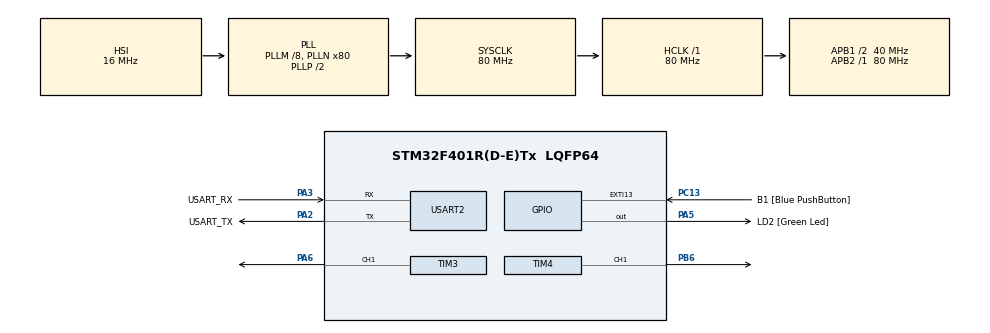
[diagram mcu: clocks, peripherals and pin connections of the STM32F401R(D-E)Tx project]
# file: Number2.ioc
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Mcu.Family=STM32F4
Mcu.Name=STM32F401R(D-E)Tx
Mcu.Package=LQFP64
NVIC.EXTI15_10_IRQn=true\:2\:0\:true\:false\:true\:true\:true
NVIC.PriorityGroup=NVIC_PRIORITYGROUP_2
NVIC.TIM3_IRQn=true\:0\:0\:false\:false\:true\:true\:true
NVIC.TIM4_IRQn=true\:0\:0\:false\:false\:true\:true\:true
PA13.GPIO_Label=TMS
PA13.Mode=Serial_Wire
PA13.Signal=SYS_JTMS-SWDIO
PA14.GPIO_Label=TCK
PA14.Mode=Serial_Wire
PA14.Signal=SYS_JTCK-SWCLK
PA2.GPIO_Label=USART_TX
PA2.GPIO_Mode=GPIO_MODE_AF_PP
PA2.GPIO_PuPd=GPIO_NOPULL
PA2.GPIO_Speed=GPIO_SPEED_FREQ_LOW
PA2.Mode=Asynchronous
PA2.Signal=USART2_TX
PA3.GPIO_Label=USART_RX
PA3.GPIO_Mode=GPIO_MODE_AF_PP
PA3.GPIO_PuPd=GPIO_NOPULL
PA3.GPIO_Speed=GPIO_SPEED_FREQ_LOW
PA3.Mode=Asynchronous
PA3.Signal=USART2_RX
PA5.GPIO_Label=LD2 [Green Led]
PA5.GPIO_Mode=GPIO_MODE_OUTPUT_PP
PA5.GPIO_PuPd=GPIO_NOPULL
PA5.GPIO_Speed=GPIO_SPEED_FREQ_LOW
PA5.Signal=GPIO_Output
PA6.Signal=S_TIM3_CH1
PB3.GPIO_Label=SWO
PB3.Signal=SYS_JTDO-SWO
PB6.Signal=S_TIM4_CH1
PC13-ANTI_TAMP.GPIO_Label=B1 [Blue PushButton]
PC13-ANTI_TAMP.GPIO_ModeDefaultEXTI=GPIO_MODE_IT_FALLING
PC13-ANTI_TAMP.GPIO_PuPd=GPIO_NOPULL
PC13-ANTI_TAMP.Signal=GPXTI13
PC14-OSC32_IN.Mode=LSE-External-Oscillator
PC14-OSC32_IN.Signal=RCC_OSC32_IN
PC15-OSC32_OUT.Mode=LSE-External-Oscillator
PC15-OSC32_OUT.Signal=RCC_OSC32_OUT
PH0\ -\ OSC_IN.Mode=HSE-External-Clock-Source
PH0\ -\ OSC_IN.Signal=RCC_OSC_IN
PH1\ -\ OSC_OUT.Mode=HSE-External-Clock-Source
PH1\ -\ OSC_OUT.Signal=RCC_OSC_OUT
ProjectManager.HeapSize=0x200
ProjectManager.StackSize=0x400
ProjectManager.TargetToolchain=STM32CubeIDE
RCC.48MHZClocksFreq_Value=22857142.85714286
RCC.AHBFreq_Value=80000000
RCC.APB1CLKDivider=RCC_HCLK_DIV2
RCC.APB1Freq_Value=40000000
RCC.APB1TimFreq_Value=80000000
RCC.APB2Freq_Value=80000000
RCC.APB2TimFreq_Value=80000000
RCC.CortexFreq_Value=80000000
RCC.HCLKFreq_Value=80000000
RCC.HSE_VALUE=8000000
RCC.HSI_VALUE=16000000
RCC.PLLM=8
RCC.PLLN=80
RCC.PLLQ=7
RCC.SYSCLKFreq_VALUE=80000000
RCC.SYSCLKSource=RCC_SYSCLKSOURCE_PLLCLK
RCC.VCOOutputFreq_Value=160000000
SH.S_TIM3_CH1.0=TIM3_CH1,PWM Generation1 CH1
SH.S_TIM4_CH1.0=TIM4_CH1,PWM Generation1 CH1
TIM3.Channel-PWM\ Generation1\ CH1=TIM_CHANNEL_1
TIM3.Period=10000-1
TIM3.Prescaler=8000-1
TIM4.Channel-PWM\ Generation1\ CH1=TIM_CHANNEL_1
TIM4.Period=100-1
TIM4.Prescaler=8000-1
USART2.VirtualMode=VM_ASYNC
VP_TIM3_VS_ClockSourceINT.Mode=Internal
VP_TIM4_VS_ClockSourceINT.Mode=Internal
board=NUCLEO-F401RE

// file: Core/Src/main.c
/* USER CODE BEGIN Header */
/**
 ******************************************************************************
 * @file           : main.c
 * @brief          : Main program body
 ******************************************************************************
 * @attention
 *
 * Copyright (c) 2022 STMicroelectronics.
 * All rights reserved.
 *
 * This software is licensed under terms that can be found in the LICENSE file
 * in the root directory of this software component.
 * If no LICENSE file comes with this software, it is provided AS-IS.
 *
 ******************************************************************************
 */
/* USER CODE END Header */
#include "main.h"

TIM_HandleTypeDef htim3;
TIM_HandleTypeDef htim4;

UART_HandleTypeDef huart2;

void SystemClock_Config(void);
static void MX_GPIO_Init(void);
static void MX_USART2_UART_Init(void);
static void MX_TIM3_Init(void);
static void MX_TIM4_Init(void);

/* USER CODE BEGIN 0 */

int counter = 0;
int state = 0;
int idle = 0;
int interval = 1;

void HAL_GPIO_EXTI_Callback(uint16_t GPIO_Pin) {
	counter++;
	if (counter > 10)
		counter = 0;
	idle = 0;
	while (!HAL_GPIO_ReadPin(B1_GPIO_Port, B1_Pin))
		;
	HAL_Delay(10);
	__HAL_GPIO_EXTI_CLEAR_IT(GPIO_Pin);
}

/* USER CODE END 0 */

int main(void) {

	/* MCU Configuration--------------------------------------------------------*/

	/* Reset of all peripherals, Initializes the Flash interface and the Systick. */
	HAL_Init();

	/* Configure the system clock */
	SystemClock_Config();

	/* Initialize all configured peripherals */
	MX_GPIO_Init();
	MX_USART2_UART_Init();
	MX_TIM3_Init();
	MX_TIM4_Init();
	/* USER CODE BEGIN 2 */
	//HAL_TIM_Base_Start_IT(&htim4);
	HAL_TIM_Base_Start_IT(&htim3);

	/* USER CODE END 2 */

	/* Infinite loop */
	while (1) {

		/* USER CODE BEGIN 3 */
		if (counter == 0 && HAL_GPIO_ReadPin(LD2_GPIO_Port, LD2_Pin) == 0) {
			HAL_GPIO_WritePin(LD2_GPIO_Port, LD2_Pin, 1);

		}

//		if(counter==0&& state!=0){
//			state = 0;
//		}else if(counter==1 && state !=1){
//			state = 1;
//			TIM4->ARR = 5000-1;
//			TIM4->CNT = 0;
//		}else if(counter==2 && state !=2){
//			state = 2;
//			TIM4->ARR = 2500-1;
//			TIM4->CNT = 0;
//		}else if(counter==10 && state !=3){
//			state = 3;
//			TIM4->ARR = 1000-1;
//			TIM4->CNT = 0;
//		}

		if (counter != 0) {
			interval = 1000 / counter; //millisec
			HAL_Delay(interval);
			HAL_GPIO_TogglePin(LD2_GPIO_Port, LD2_Pin);
			//idle += interval;
		}

//		if(idle >= 20000){
//			idle = 0;
//			counter = 0;
//			HAL_GPIO_WritePin(LD2_GPIO_Port, LD2_Pin, 1);
//		}

	}
	/* USER CODE END 3 */
}

void SystemClock_Config(void) {
	RCC_OscInitTypeDef RCC_OscInitStruct = { 0 };
	RCC_ClkInitTypeDef RCC_ClkInitStruct = { 0 };

	/** Configure the main internal regulator output voltage
	 */
	__HAL_RCC_PWR_CLK_ENABLE();
	__HAL_PWR_VOLTAGESCALING_CONFIG(PWR_REGULATOR_VOLTAGE_SCALE2);
	/** Initializes the RCC Oscillators according to the specified parameters
	 * in the RCC_OscInitTypeDef structure.
	 */
	RCC_OscInitStruct.OscillatorType = RCC_OSCILLATORTYPE_HSI;
	RCC_OscInitStruct.HSIState = RCC_HSI_ON;
	RCC_OscInitStruct.HSICalibrationValue = RCC_HSICALIBRATION_DEFAULT;
	RCC_OscInitStruct.PLL.PLLState = RCC_PLL_ON;
	RCC_OscInitStruct.PLL.PLLSource = RCC_PLLSOURCE_HSI;
	RCC_OscInitStruct.PLL.PLLM = 8;
	RCC_OscInitStruct.PLL.PLLN = 80;
	RCC_OscInitStruct.PLL.PLLP = RCC_PLLP_DIV2;
	RCC_OscInitStruct.PLL.PLLQ = 7;
	if (HAL_RCC_OscConfig(&RCC_OscInitStruct) != HAL_OK) {
		Error_Handler();
	}
	/** Initializes the CPU, AHB and APB buses clocks
	 */
	RCC_ClkInitStruct.ClockType = RCC_CLOCKTYPE_HCLK | RCC_CLOCKTYPE_SYSCLK
			| RCC_CLOCKTYPE_PCLK1 | RCC_CLOCKTYPE_PCLK2;
	RCC_ClkInitStruct.SYSCLKSource = RCC_SYSCLKSOURCE_PLLCLK;
	RCC_ClkInitStruct.AHBCLKDivider = RCC_SYSCLK_DIV1;
	RCC_ClkInitStruct.APB1CLKDivider = RCC_HCLK_DIV2;
	RCC_ClkInitStruct.APB2CLKDivider = RCC_HCLK_DIV1;

	if (HAL_RCC_ClockConfig(&RCC_ClkInitStruct, FLASH_LATENCY_2) != HAL_OK) {
		Error_Handler();
	}
}

static void MX_TIM3_Init(void) {

	TIM_ClockConfigTypeDef sClockSourceConfig = { 0 };
	TIM_MasterConfigTypeDef sMasterConfig = { 0 };
	TIM_OC_InitTypeDef sConfigOC = { 0 };

	htim3.Instance = TIM3;
	htim3.Init.Prescaler = 8000 - 1;
	htim3.Init.CounterMode = TIM_COUNTERMODE_UP;
	htim3.Init.Period = 10000 - 1;
	htim3.Init.ClockDivision = TIM_CLOCKDIVISION_DIV1;
	htim3.Init.AutoReloadPreload = TIM_AUTORELOAD_PRELOAD_DISABLE;
	if (HAL_TIM_Base_Init(&htim3) != HAL_OK) {
		Error_Handler();
	}
	sClockSourceConfig.ClockSource = TIM_CLOCKSOURCE_INTERNAL;
	if (HAL_TIM_ConfigClockSource(&htim3, &sClockSourceConfig) != HAL_OK) {
		Error_Handler();
	}
	if (HAL_TIM_PWM_Init(&htim3) != HAL_OK) {
		Error_Handler();
	}
	sMasterConfig.MasterOutputTrigger = TIM_TRGO_RESET;
	sMasterConfig.MasterSlaveMode = TIM_MASTERSLAVEMODE_DISABLE;
	if (HAL_TIMEx_MasterConfigSynchronization(&htim3, &sMasterConfig)
			!= HAL_OK) {
		Error_Handler();
	}
	sConfigOC.OCMode = TIM_OCMODE_PWM1;
	sConfigOC.Pulse = 0;
	sConfigOC.OCPolarity = TIM_OCPOLARITY_HIGH;
	sConfigOC.OCFastMode = TIM_OCFAST_DISABLE;
	if (HAL_TIM_PWM_ConfigChannel(&htim3, &sConfigOC, TIM_CHANNEL_1)
			!= HAL_OK) {
		Error_Handler();
	}
	HAL_TIM_MspPostInit(&htim3);

}

static void MX_TIM4_Init(void) {

	TIM_ClockConfigTypeDef sClockSourceConfig = { 0 };
	TIM_MasterConfigTypeDef sMasterConfig = { 0 };
	TIM_OC_InitTypeDef sConfigOC = { 0 };

	htim4.Instance = TIM4;
	htim4.Init.Prescaler = 8000 - 1;
	htim4.Init.CounterMode = TIM_COUNTERMODE_UP;
	htim4.Init.Period = 100 - 1;
	htim4.Init.ClockDivision = TIM_CLOCKDIVISION_DIV1;
	htim4.Init.AutoReloadPreload = TIM_AUTORELOAD_PRELOAD_DISABLE;
	if (HAL_TIM_Base_Init(&htim4) != HAL_OK) {
		Error_Handler();
	}
	sClockSourceConfig.ClockSource = TIM_CLOCKSOURCE_INTERNAL;
	if (HAL_TIM_ConfigClockSource(&htim4, &sClockSourceConfig) != HAL_OK) {
		Error_Handler();
	}
	if (HAL_TIM_PWM_Init(&htim4) != HAL_OK) {
		Error_Handler();
	}
	sMasterConfig.MasterOutputTrigger = TIM_TRGO_RESET;
	sMasterConfig.MasterSlaveMode = TIM_MASTERSLAVEMODE_DISABLE;
	if (HAL_TIMEx_MasterConfigSynchronization(&htim4, &sMasterConfig)
			!= HAL_OK) {
		Error_Handler();
	}
	sConfigOC.OCMode = TIM_OCMODE_PWM1;
	sConfigOC.Pulse = 0;
	sConfigOC.OCPolarity = TIM_OCPOLARITY_HIGH;
	sConfigOC.OCFastMode = TIM_OCFAST_DISABLE;
	if (HAL_TIM_PWM_ConfigChannel(&htim4, &sConfigOC, TIM_CHANNEL_1)
			!= HAL_OK) {
		Error_Handler();
	}
	HAL_TIM_MspPostInit(&htim4);

}

static void MX_USART2_UART_Init(void) {

	huart2.Instance = USART2;
	huart2.Init.BaudRate = 115200;
	huart2.Init.WordLength = UART_WORDLENGTH_8B;
	huart2.Init.StopBits = UART_STOPBITS_1;
	huart2.Init.Parity = UART_PARITY_NONE;
	huart2.Init.Mode = UART_MODE_TX_RX;
	huart2.Init.HwFlowCtl = UART_HWCONTROL_NONE;
	huart2.Init.OverSampling = UART_OVERSAMPLING_16;
	if (HAL_UART_Init(&huart2) != HAL_OK) {
		Error_Handler();
	}

}

static void MX_GPIO_Init(void) {
	GPIO_InitTypeDef GPIO_InitStruct = { 0 };

	/* GPIO Ports Clock Enable */
	__HAL_RCC_GPIOC_CLK_ENABLE();
	__HAL_RCC_GPIOH_CLK_ENABLE();
	__HAL_RCC_GPIOA_CLK_ENABLE();
	__HAL_RCC_GPIOB_CLK_ENABLE();

	/*Configure GPIO pin Output Level */
	HAL_GPIO_WritePin(LD2_GPIO_Port, LD2_Pin, GPIO_PIN_RESET);

	/*Configure GPIO pin : B1_Pin */
	GPIO_InitStruct.Pin = B1_Pin;
	GPIO_InitStruct.Mode = GPIO_MODE_IT_FALLING;
	GPIO_InitStruct.Pull = GPIO_NOPULL;
	HAL_GPIO_Init(B1_GPIO_Port, &GPIO_InitStruct);

	/*Configure GPIO pin : LD2_Pin */
	GPIO_InitStruct.Pin = LD2_Pin;
	GPIO_InitStruct.Mode = GPIO_MODE_OUTPUT_PP;
	GPIO_InitStruct.Pull = GPIO_NOPULL;
	GPIO_InitStruct.Speed = GPIO_SPEED_FREQ_LOW;
	HAL_GPIO_Init(LD2_GPIO_Port, &GPIO_InitStruct);

	/* EXTI interrupt init*/
	HAL_NVIC_SetPriority(EXTI15_10_IRQn, 2, 0);
	HAL_NVIC_EnableIRQ(EXTI15_10_IRQn);

}

/* USER CODE BEGIN 4 */

void HAL_TIM_PeriodElapsedCallback(TIM_HandleTypeDef *htim) {
	if (htim->Instance == TIM3) {
		idle += 1;
		if (idle >= 20) {
			state = 0;
			counter = 0;
			HAL_GPIO_WritePin(LD2_GPIO_Port, LD2_Pin, 1);
			idle = 0;
		}
	}
	if (htim->Instance == TIM4) {
		if (state != 0) {
			HAL_GPIO_TogglePin(LD2_GPIO_Port, LD2_Pin);
		}
	}
}

/* USER CODE END 4 */

void Error_Handler(void) {
	__disable_irq();
	while (1) {
	}
}
